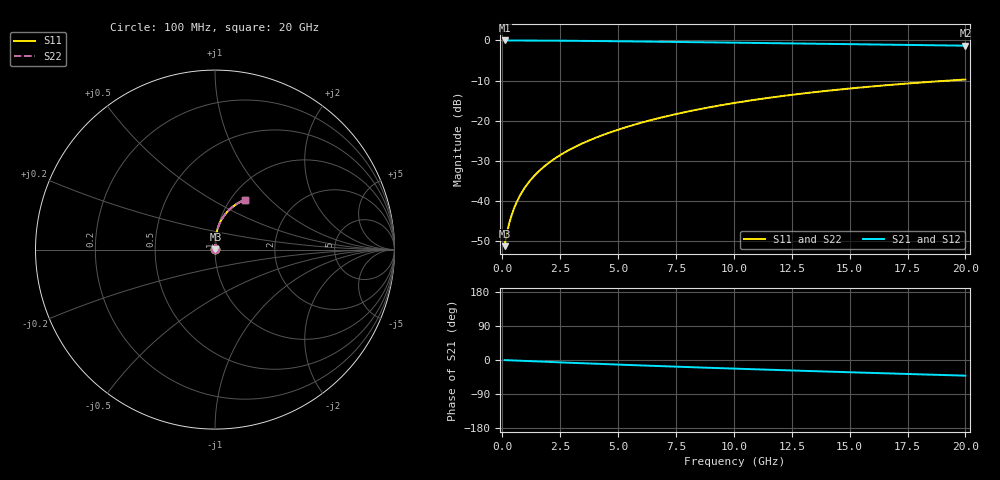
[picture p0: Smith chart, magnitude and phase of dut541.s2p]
! Touchstone file exported from HFSS 2024.1.0
!  File:  C:/UserFiles/LocalFiles/RDL_TSV_Batchsim/temp_RDL_bottom_541_1779688944.aedt
!  Generated:  02:04:50 PM May 25, 2026
!  Design:  RDL_bottom
!  Project:  temp_RDL_bottom_541_1779688944
!  Setup:  Setup1
!  Solution:  Sweep
! Variables:
!  dtsv = 10.80580581um
!  hbump = 3um
!  htsv = 70.27um
!  ldown = 632.27um
!  lrdl = 100um
!  p = 40
!  p1 = 46.56um
!  rhole = 1um
!  t = 450um
!  tdown = 4.83um
!  trdl = 3.915915916um
!  wdown = 23.53um
!  wrdl = 20um
# GHz S MA R 50.000000
! Terminal data exported
! Port[1] = RDL1_T1
! Port[2] = RDL1_T2
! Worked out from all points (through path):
!   200 points, 100 MHz to 20 GHz, reference 50 ohm
!   highest |S21| = -0.02 dB at 100 MHz (marker M1); lowest = -1.3 dB at 20 GHz (marker M2)
!   group delay of S21, straight-line fit = 5.67 ps
!   lowest |S11| = -51.2 dB at 100 MHz (marker M3), VSWR 1.01, Z = 50.2 + j0.169 ohm
!   |S11| at or under -10 dB: start of sweep to 19.3 GHz
!   |S22| runs from -51.2 to -9.7 dB; largest |S21 - S12| = 2.2e-14
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0.1  0.002739 37.9  0.9978 -0.3  0.9978 -0.3  0.002739 37.9
! Gamma 0 0 0 0
! Port Impedance 50 0 50 0
0.2  0.00398 54.3  0.9976 -0.5  0.9976 -0.5  0.00398 54.3
0.3  0.005294 62.4  0.9975 -0.8  0.9975 -0.8  0.005294 62.4
0.4  0.006631 67.5  0.9973 -1.0  0.9973 -1.0  0.006631 67.5
0.5  0.007992 71.1  0.9971 -1.3  0.9971 -1.3  0.007991 71.1
0.6  0.009374 73.7  0.997 -1.5  0.997 -1.5  0.009374 73.7
0.8  0.01219 77.3  0.9967 -2.0  0.9967 -2.0  0.01219 77.3
1.1  0.01649 80.4  0.996 -2.8  0.996 -2.8  0.01649 80.4
1.5  0.02233 82.7  0.9949 -3.8  0.9949 -3.8  0.02233 82.7
1.8  0.02677 83.7  0.9939 -4.5  0.9939 -4.5  0.02677 83.8
2.1  0.03124 84.5  0.9927 -5.3  0.9927 -5.3  0.03125 84.5
2.7  0.04034 85.3  0.99 -6.7  0.99 -6.7  0.04035 85.3
3.5  0.0528 85.7  0.9855 -8.7  0.9855 -8.7  0.05281 85.8
4.2  0.06404 85.7  0.9811 -10.3  0.9811 -10.3  0.06406 85.8
5  0.07727 85.3  0.9756 -12.1  0.9756 -12.1  0.07731 85.4
6.8  0.1084 83.5  0.9621 -16.1  0.9621 -16.1  0.1084 83.6
8.4  0.137 81.1  0.9496 -19.5  0.9496 -19.5  0.1371 81.1
10.1  0.1676 78.0  0.9361 -22.9  0.9361 -22.9  0.1677 78.1
11.7  0.1959 74.9  0.9234 -26.1  0.9234 -26.1  0.1961 75.0
13.4  0.2252 71.5  0.91 -29.4  0.91 -29.4  0.2254 71.6
16.7  0.2783 65.0  0.8843 -35.5  0.8843 -35.5  0.2786 65.0
20  0.3257 58.7  0.8591 -41.3  0.8591 -41.3  0.3261 58.8
